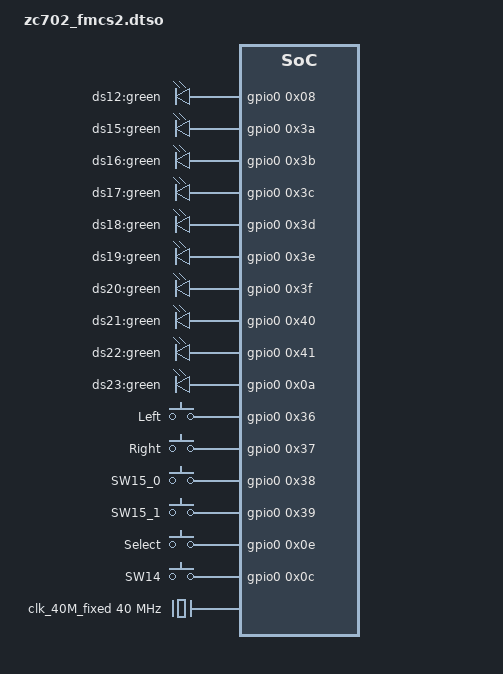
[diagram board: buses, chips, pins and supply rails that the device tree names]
/dts-v1/;
/plugin/;

/{
    // Add board specific clocks
    fragment@0{
        target = <&clocks>;
        __overlay__{
            clk_40M_fixed: clock@0 {
                #clock-cells = <0x0>;
                compatible = "fixed-clock";
                clock-frequency = <40000000>;
                clock-output-names = "ad9361_ext_refclk";
            };
        };
    };

    // Set clock in ad9361_phy
    fragment@1{
        target = <&ad9361_phy>;
        __overlay__{
            clocks = <&clk_40M_fixed 0x0>;
            adi,dcxo-coarse-and-fine-tune = <0x8 0x1720>;
        };
    };

    fragment@2{
        target-path = "/";
        __overlay__{
            leds {
          		compatible = "gpio-leds";

          		ds12 {
          			label = "ds12:green";
          			gpios = <&gpio0 0x08 0x00>;
          		};

          		ds15 {
          			label = "ds15:green";
          			gpios = <&gpio0 0x3a 0x00>;
          		};

          		ds16 {
          			label = "ds16:green";
          			gpios = <&gpio0 0x3b 0x00>;
          		};

          		ds17 {
          			label = "ds17:green";
          			gpios = <&gpio0 0x3c 0x00>;
          		};

          		ds18 {
          			label = "ds18:green";
          			gpios = <&gpio0 0x3d 0x00>;
          		};

          		ds19 {
          			label = "ds19:green";
          			gpios = <&gpio0 0x3e 0x00>;
          		};

          		ds20 {
          			label = "ds20:green";
          			gpios = <&gpio0 0x3f 0x00>;
          		};

          		ds21 {
          			label = "ds21:green";
          			gpios = <&gpio0 0x40 0x00>;
          		};

          		ds22 {
          			label = "ds22:green";
          			gpios = <&gpio0 0x41 0x00>;
          		};

          		ds23 {
          			label = "ds23:green";
          			gpios = <&gpio0 0x0a 0x00>;
          		};
          	};

          	gpio_keys {
          		compatible = "gpio-keys";
          		#address-cells = <0x01>;
          		#size-cells = <0x00>;
          		autorepeat;

          		sw5 {
          			label = "Left";
          			linux,code = <0x69>;
          			gpios = <&gpio0 0x36 0x00>;
          		};

          		sw7 {
          			label = "Right";
          			linux,code = <0x6a>;
          			gpios = <&gpio0 0x37 0x00>;
          		};

          		sw15_0 {
          			label = "SW15_0";
          			linux,code = <0x0d>;
          			linux,input-type = <0x05>;
          			gpios = <&gpio0 0x38 0x00>;
          		};

          		sw15_1 {
          			label = "SW15_1";
          			linux,code = <0x01>;
          			linux,input-type = <0x05>;
          			gpios = <&gpio0 0x39 0x00>;
          		};

          		sw13 {
          			label = "Select";
          			linux,code = <0x1c>;
          			gpios = <&gpio0 0x0e 0x00>;
          		};

          		sw14 {
          			label = "SW14";
          			linux,code = <0x01>;
          			gpios = <&gpio0 0x0c 0x00>;
          		};
          	};
        };
    };
};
